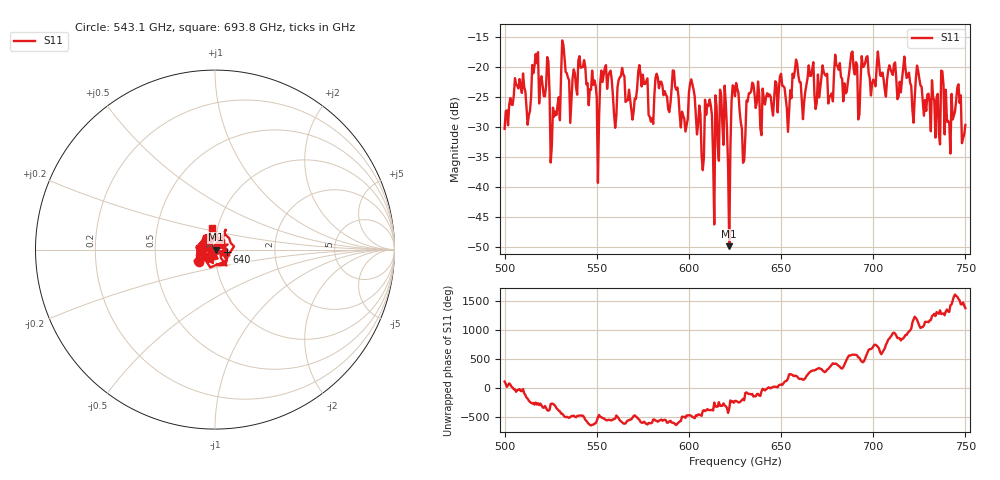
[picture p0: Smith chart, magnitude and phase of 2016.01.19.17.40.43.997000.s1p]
!Created with skrf (http://scikit-rf.org).
# GHz S RI R 50.0
!freq ReS11 ImS11
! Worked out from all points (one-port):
!   401 points, 500 GHz to 750 GHz, reference 50 ohm
!   lowest |S11| = -49.9 dB at 621.9 GHz (marker M1), VSWR 1.01, Z = 50.3 + j0.0323 ohm
!   |S11| at or under -10 dB: start of sweep to end of sweep
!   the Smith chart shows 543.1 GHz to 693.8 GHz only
!   S11 on the Smith chart (normalised r, x): 543.1 GHz: 0.83, -0.11; 640 GHz: 1.14, -0.03; 693.8 GHz: 0.94, +0.23
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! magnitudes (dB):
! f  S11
! 500 GHz  -30.3
! 506.9 GHz  -23.2
! 513.1 GHz  -28.1
! 516.9 GHz  -17.9
! 526.2 GHz  -26.8
! 531.2 GHz  -15.6
! 543.1 GHz  -18.9
! 550.6 GHz  -39.3
! 553.8 GHz  -21.3
! 560 GHz  -30.1
! 562.5 GHz  -21.7
! 579.4 GHz  -29.1
! 583.1 GHz  -21.8
! 593.8 GHz  -23.4
! 606.9 GHz  -34.8
! 611.2 GHz  -25.4
! 615 GHz  -26.7
! 618.1 GHz  -29.4
! 621.9 GHz  -49.9
! 625 GHz  -24.9
! 629.4 GHz  -36.0
! 633.8 GHz  -24.1
! 640 GHz  -23.6
! 656.2 GHz  -21.1
! 687.5 GHz  -19.4
! 693.8 GHz  -18.2
! 718.8 GHz  -21.5
! 750 GHz  -29.7
